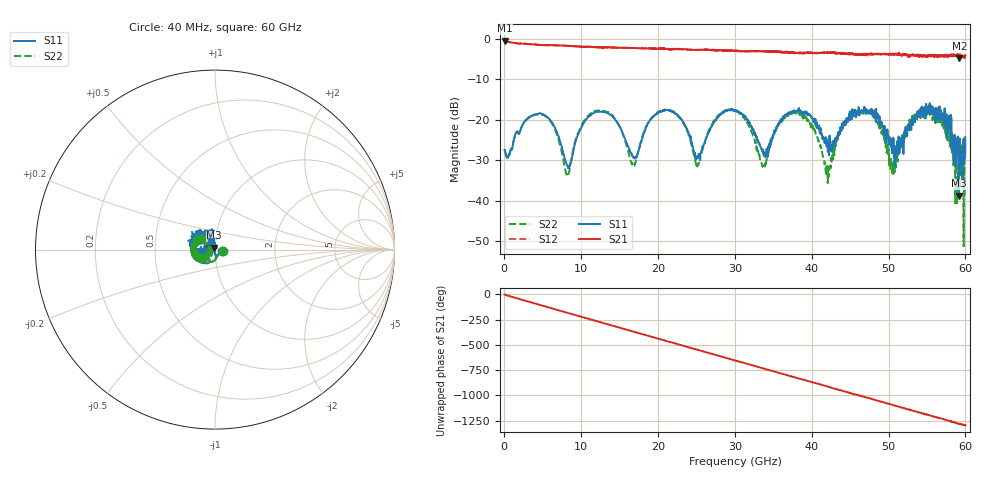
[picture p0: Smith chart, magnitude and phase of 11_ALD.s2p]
! File created by 'SoftPlot +Plus+ Measurement Management Software'
! SoftPlot +Plus+ Measurement Management Software
! Start 40.000000 MHz  Stop 60.000000 GHz  Points 1601
# MHZ S RI R 50
! S-Parameter data, F S11 S21 S12 S22
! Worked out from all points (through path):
!   1601 points, 40 MHz to 60 GHz, reference 50 ohm
!   highest |S21| = -0.42 dB at 40 MHz (marker M1); lowest = -4.8 dB at 59.21 GHz (marker M2)
!   group delay of S21, straight-line fit = 59.9 ps
!   lowest |S11| = -38.7 dB at 59.14 GHz (marker M3), VSWR 1.02, Z = 49.5 + j1.04 ohm
!   |S11| at or under -10 dB: start of sweep to end of sweep
!   |S22| runs from -51.2 to -17.4 dB; largest |S21 - S12| = 0.069
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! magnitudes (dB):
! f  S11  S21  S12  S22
! 40 MHz  -27.5  -0.4  -0.4  -27.3
! 4.874 GHz  -18.6  -1.5  -1.5  -18.7
! 8.247 GHz  -31.5  -1.7  -1.7  -34.0
! 10.05 GHz  -21.9  -2.0  -1.9  -21.5
! 13.79 GHz  -18.7  -2.1  -2.1  -18.5
! 16.79 GHz  -29.3  -2.2  -2.3  -31.2
! 20.05 GHz  -18.3  -2.5  -2.4  -18.1
! 22.86 GHz  -19.7  -2.6  -2.6  -19.6
! 25.11 GHz  -29.4  -2.8  -2.7  -31.8
! 27.4 GHz  -20.3  -2.8  -2.8  -20.0
! 30.02 GHz  -17.7  -2.9  -2.9  -17.7
! 33.69 GHz  -28.3  -3.1  -3.0  -31.6
! 36.77 GHz  -18.7  -3.4  -3.2  -18.9
! 40.03 GHz  -19.6  -3.4  -3.5  -21.2
! 42.09 GHz  -27.9  -3.3  -3.4  -35.6
! 45.72 GHz  -18.5  -4.0  -3.8  -18.0
! 48.2 GHz  -19.3  -3.8  -3.8  -19.3
! 50.03 GHz  -25.5  -4.0  -3.8  -27.3
! 55.84 GHz  -18.1  -3.9  -3.9  -17.8
! 59.14 GHz  -38.7  -4.3  -3.9  -37.7
! 59.21 GHz  -27.2  -4.8  -4.1  -36.1
! 60 GHz  -25.0  -4.1  -4.6  -24.5
